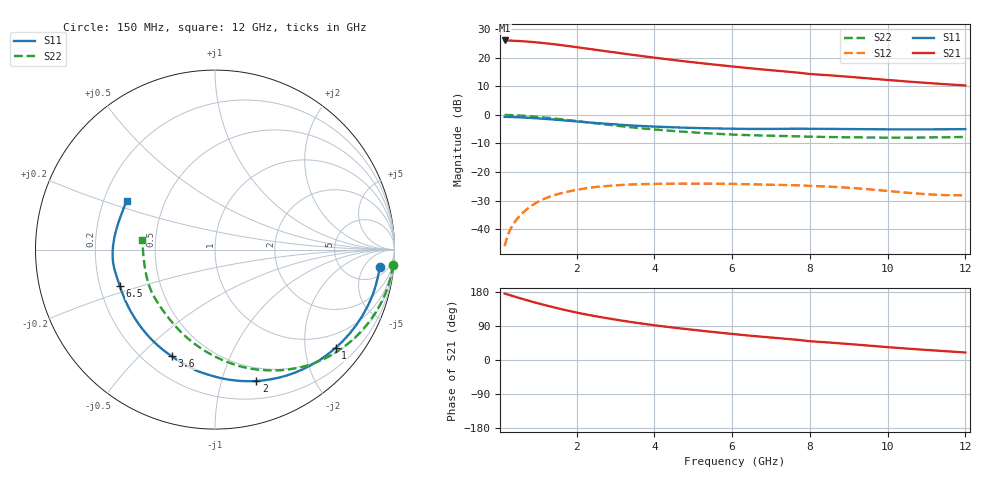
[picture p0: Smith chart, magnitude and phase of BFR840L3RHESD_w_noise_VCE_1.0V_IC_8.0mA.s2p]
! Infineon Technologies  Discrete & RF Semiconductors
! BFR840L3RHESD
! VCE =  1.0 V,  IC =  8.0 mA
! Common Emitter S-Parameters:  Jun 2012
# GHz  S  MA  R  50
!  f  S11  S21  S12  S22
! GHz  MAG  ANG  MAG  ANG  MAG  ANG  MAG  ANG
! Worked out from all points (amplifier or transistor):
!   91 points, 150 MHz to 12 GHz, reference 50 ohm
!   highest |S21| = 26.0 dB at 150 MHz (marker M1)
!   |S21| within 3 dB of that: start of sweep to 2.354 GHz
!   unconditionally stable (mu >= 1): 8.67 GHz to end of sweep
!   at 1.3 GHz: K = 0.12, MSG = 26.7 dB, |S12| = -28.6 dB
!   at 4.3 GHz: K = 0.38, MSG = 21.8 dB, |S12| = -24.1 dB
!   at 12 GHz: K = 2.19, MAG = 13.0 dB, |S12| = -28.1 dB
!   lowest NFmin = 0.61 dB at 450 MHz
!   S11 on the Smith chart (normalised r, x): 150 MHz: 9, -12; 1 GHz: 0.61, -2.69; 2 GHz: 0.36, -1.30; 3.6 GHz: 0.31, -0.63; 6.5 GHz: 0.28, -0.17; 12 GHz: 0.30, +0.24
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0.15  0.9226 -6.2  19.87 175.4  0.0051 89.0  0.9944 -5.0
0.3  0.9177 -12.4  19.75 170.7  0.0101 85.3  0.9885 -10.2
0.5  0.9069 -20.4  19.46 164.4  0.0161 78.7  0.9746 -16.8
0.8  0.8843 -31.9  18.83 155.5  0.0247 69.4  0.9446 -26.2
1  0.8668 -39.2  18.32 149.9  0.0301 64.2  0.9208 -32.3
1.2  0.8482 -46.4  17.75 144.5  0.0349 59.6  0.8949 -38.1
1.5  0.8187 -56.6  16.81 136.9  0.041 53.7  0.8529 -46.5
1.8  0.788 -66.3  15.84 129.7  0.046 48.6  0.8087 -54.3
2  0.7675 -72.5  15.19 125.3  0.0489 45.4  0.779 -59.2
2.2  0.7476 -78.4  14.55 121.1  0.0516 42.3  0.7499 -63.9
2.5  0.7199 -86.5  13.62 115.4  0.0551 37.7  0.7092 -70.5
2.9  0.6884 -96.3  12.51 108.3  0.058 32.2  0.6612 -78.5
3.3  0.6589 -105.7  11.48 101.8  0.0604 28.1  0.6167 -86.1
3.6  0.6416 -112.1  10.79 97.3  0.0614 25.2  0.5884 -91.4
4.2  0.6158 -123.7  9.58 89.1  0.0626 20.1  0.5416 -101.2
5.2  0.586 -140.7  7.984 77.3  0.063 13.2  0.4837 -116.2
6.1  0.5714 -153.7  6.883 67.8  0.0621 8.8  0.4502 -128.5
6.5  0.5678 -158.9  6.466 63.9  0.0613 7.1  0.4403 -133.8
8  0.571 -178.1  5.161 49.5  0.0575 1.0  0.4152 -153.8
8.5  0.5681 177.5  4.897 46.1  0.0558 -0.4  0.4099 -158.3
10.5  0.5573 160.1  3.818 30.1  0.0437 -0.5  0.4004 -177.1
12  0.5632 151.0  3.255 19.8  0.0393 11.1  0.4111 172.5
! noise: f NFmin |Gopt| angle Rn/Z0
0.45  0.61  0.39  6  0.16
0.9  0.64  0.39  11  0.16
1.9  0.68  0.41  29  0.16
3.5  0.69  0.4  49  0.14
4  0.7  0.4  57  0.14
5.5  0.74  0.4  71  0.13
7  0.81  0.38  91  0.12
8  0.88  0.36  101  0.11
10  0.98  0.34  124  0.1
12  1.13  0.3  153  0.09
